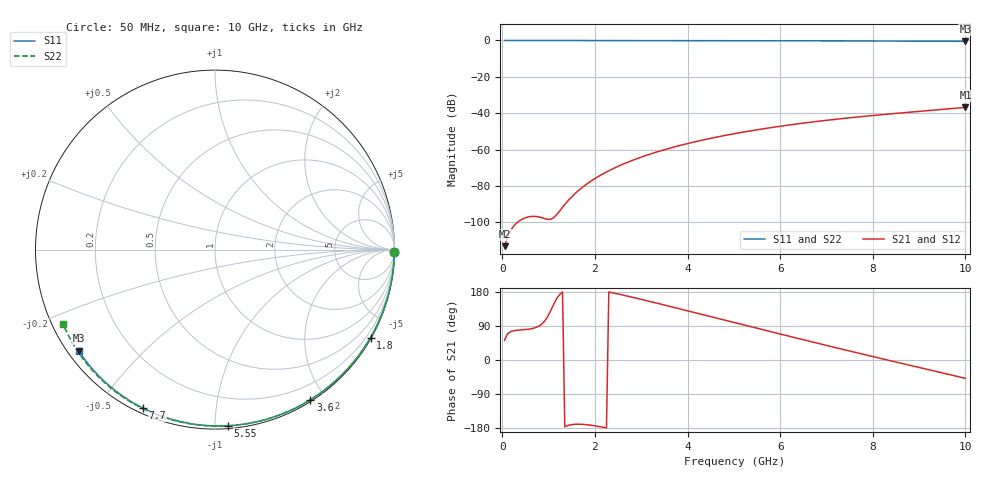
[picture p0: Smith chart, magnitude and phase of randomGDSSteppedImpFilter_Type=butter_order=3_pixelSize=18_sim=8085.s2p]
! freq	dB(S11)	phase(S11)	dB(S12)	phase(S12)
!  dB(S21)	phase(S21)	dB(S22)	phase(S22)
!S-par simulation data
#  GHz  S  DB  R 50
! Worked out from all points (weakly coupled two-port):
!   200 points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, 50 MHz to 10 GHz, reference 50 ohm
!   highest |S21| = -36.82 dB at 10 GHz (marker M1); lowest = -113.1 dB at 50 MHz (marker M2)
!   lowest |S11| = -0.5 dB at 10 GHz (marker M3), VSWR 36.19, Z = 1.53 - j16.5 ohm
!   |S11| at or under -10 dB: nowhere
!   |S22| runs from -0.5 to 0.0 dB; largest |S21 - S12| = 0
!   S11 on the Smith chart (normalised r, x): 50 MHz: open; 1.8 GHz: 0.03, -3.80; 3.6 GHz: 0.02, -1.82; 5.55 GHz: 0.02, -1.08; 7.7 GHz: 0.02, -0.64; 10 GHz: 0.03, -0.33
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0.05  -0.00 -0.8  -113.11 51.8  -113.11 51.8  -0.00 -0.9
0.45  -0.01 -7.5  -97.99 79.9  -97.99 79.9  -0.01 -8.1
0.9  -0.02 -14.9  -97.81 100.7  -97.81 100.7  -0.02 -16.1
1.3  -0.03 -21.4  -91.75 179.7  -91.75 179.7  -0.03 -23.1
1.75  -0.04 -28.7  -80.32 -169.9  -80.32 -169.9  -0.04 -31.0
1.8  -0.04 -29.5  -79.37 -170.5  -79.37 -170.5  -0.04 -31.8
1.95  -0.04 -31.9  -76.74 -172.8  -76.74 -172.8  -0.04 -34.4
2.1  -0.04 -34.3  -74.41 -175.8  -74.41 -175.8  -0.05 -37.0
2.3  -0.05 -37.5  -71.65 179.5  -71.65 179.5  -0.05 -40.4
2.5  -0.05 -40.6  -69.22 174.3  -69.22 174.3  -0.06 -43.8
2.9  -0.06 -46.9  -65.06 163.0  -65.06 163.0  -0.07 -50.5
3.4  -0.07 -54.5  -60.82 148.1  -60.82 148.1  -0.08 -58.7
3.6  -0.08 -57.6  -59.34 142.0  -59.34 142.0  -0.08 -61.9
4.3  -0.10 -67.9  -54.90 120.6  -54.90 120.6  -0.10 -73.0
5.05  -0.12 -78.7  -51.07 97.6  -51.07 97.6  -0.13 -84.5
5.55  -0.14 -85.7  -48.91 82.3  -48.91 82.3  -0.15 -92.0
6.1  -0.17 -93.3  -46.82 65.6  -46.82 65.6  -0.18 -100.0
6.7  -0.20 -101.3  -44.82 47.5  -44.82 47.5  -0.21 -108.6
7.7  -0.26 -114.4  -42.01 17.8  -42.01 17.8  -0.28 -122.5
8.35  -0.32 -122.7  -40.44 -1.1  -40.44 -1.1  -0.34 -131.5
9.2  -0.39 -133.4  -38.56 -25.4  -38.56 -25.4  -0.42 -143.1
10  -0.48 -143.5  -36.82 -48.4  -36.82 -48.4  -0.52 -154.0
